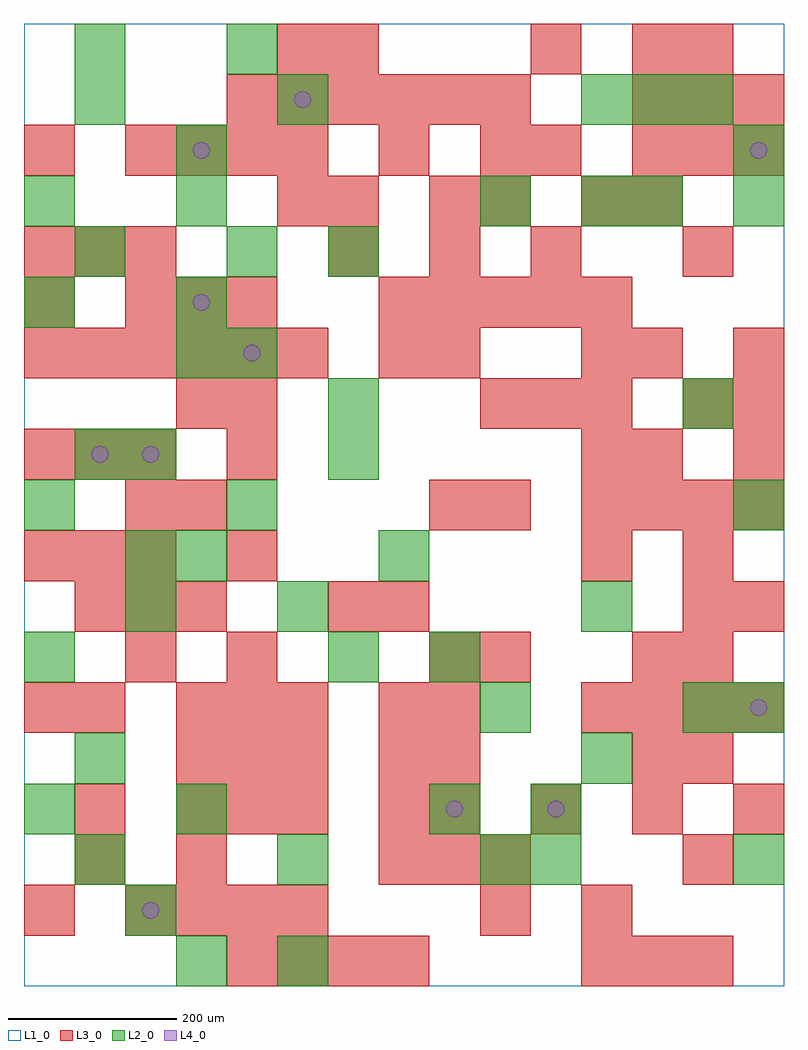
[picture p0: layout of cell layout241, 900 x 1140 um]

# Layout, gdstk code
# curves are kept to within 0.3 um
import gdstk
lib = gdstk.Library(unit=1e-6, precision=1e-09)
def R(c, l, rs):  # rectangles x0, y0, x1, y1
    for r in rs: c.add(gdstk.rectangle(r[:2], r[2:], *l))
def A(c, l, x, y, w, h, nx, ny, dx, dy):  # array of equal rectangles
    R(c, l, [(x+i*dx, y+j*dy, x+i*dx+w, y+j*dy+h) for i in range(nx) for j in range(ny)])
def P(c, l, *ps):  # polygons
    for p in ps: c.add(gdstk.Polygon(p, *l))
L1_0 = (1, 0)
L2_0 = (2, 0)
L3_0 = (3, 0)
L4_0 = (4, 0)

layout241 = lib.new_cell('layout241')
R(layout241, L1_0, [(0,0,900,1140)])
A(layout241, L2_0, 60, 120, 60, 60, 3, 1, 240, 0)
A(layout241, L2_0, 0, 180, 60, 60, 1, 3, 0, 180)
A(layout241, L2_0, 660, 1020, 60, 60, 3, 1, 60, 0)
R(layout241, L2_0, [(180,0,240,60), (300,0,360,60), (120,60,180,120), (600,120,660,180), (840,120,900,180), (180,180,240,240), (480,180,540,240), (600,180,660,240), (60,240,120,300), (660,240,720,300), (540,300,600,360), (780,300,840,360), (840,300,900,360), (360,360,420,420), (480,360,540,420), (120,420,180,480), (300,420,360,480), (660,420,720,480), (120,480,180,540), (180,480,240,540), (420,480,480,540), (240,540,300,600), (840,540,900,600), (60,600,120,660), (120,600,180,660), (360,600,420,660), (360,660,420,720), (780,660,840,720), (180,720,240,780), (240,720,300,780), (0,780,60,840), (180,780,240,840), (60,840,120,900), (240,840,300,900), (360,840,420,900), (0,900,60,960), (180,900,240,960), (540,900,600,960), (660,900,720,960), (720,900,780,960), (840,900,900,960), (180,960,240,1020), (840,960,900,1020), (60,1020,120,1080), (300,1020,360,1080), (60,1080,120,1140), (240,1080,300,1140)])
A(layout241, L3_0, 240, 0, 60, 60, 4, 1, 60, 0)
A(layout241, L3_0, 660, 0, 60, 60, 3, 1, 60, 0)
A(layout241, L3_0, 120, 60, 60, 60, 4, 2, 60, 900)
A(layout241, L3_0, 420, 120, 60, 60, 3, 1, 60, 0)
A(layout241, L3_0, 780, 120, 60, 60, 1, 3, 0, 120)
A(layout241, L3_0, 180, 180, 60, 60, 3, 3, 60, 60)
A(layout241, L3_0, 420, 180, 60, 60, 1, 3, 0, 60)
A(layout241, L3_0, 480, 180, 60, 60, 4, 1, 120, 0)
A(layout241, L3_0, 480, 240, 60, 60, 1, 3, 0, 60)
A(layout241, L3_0, 660, 300, 60, 60, 4, 2, 60, 240)
A(layout241, L3_0, 240, 360, 60, 60, 1, 3, 0, 120)
A(layout241, L3_0, 60, 420, 60, 60, 3, 1, 60, 0)
A(layout241, L3_0, 0, 480, 60, 60, 3, 2, 60, 120)
A(layout241, L3_0, 660, 480, 60, 60, 1, 3, 0, 120)
A(layout241, L3_0, 780, 480, 60, 60, 1, 3, 0, 180)
A(layout241, L3_0, 480, 540, 60, 60, 1, 3, 0, 180)
A(layout241, L3_0, 840, 600, 60, 60, 1, 3, 0, 60)
A(layout241, L3_0, 540, 660, 60, 60, 3, 1, 60, 0)
A(layout241, L3_0, 0, 720, 60, 60, 6, 1, 60, 0)
A(layout241, L3_0, 720, 720, 60, 60, 1, 3, 0, 180)
A(layout241, L3_0, 120, 780, 60, 60, 3, 1, 60, 0)
A(layout241, L3_0, 420, 780, 60, 60, 5, 1, 60, 0)
A(layout241, L3_0, 0, 840, 60, 60, 3, 1, 60, 0)
A(layout241, L3_0, 360, 840, 60, 60, 3, 1, 120, 0)
A(layout241, L3_0, 720, 960, 60, 60, 3, 2, 60, 60)
A(layout241, L3_0, 240, 1020, 60, 60, 6, 1, 60, 0)
R(layout241, L3_0, [(0,60,60,120), (540,60,600,120), (660,60,720,120), (60,120,120,180), (180,120,240,180), (60,180,120,240), (720,240,780,300), (0,300,60,360), (60,300,120,360), (120,360,180,420), (540,360,600,420), (720,360,780,420), (360,420,420,480), (420,420,480,480), (780,420,840,480), (840,420,900,480), (120,540,180,600), (180,540,240,600), (540,540,600,600), (720,600,780,660), (180,660,240,720), (240,660,300,720), (420,720,480,780), (0,780,60,840), (300,900,360,960), (360,900,420,960), (540,900,600,960), (660,900,720,960), (0,960,60,1020), (420,960,480,1020), (540,960,600,1020), (600,960,660,1020), (300,1080,360,1140), (360,1080,420,1140), (600,1080,660,1140), (780,1080,840,1140)])
P(layout241, L4_0, [(100,630),(99.239,633.827),(97.071,637.071),(93.827,639.239),(90,640),(86.173,639.239),(82.929,637.071),(80.761,633.827),(80,630),(80.761,626.173),(82.929,622.929),(86.173,620.761),(90,620),(93.827,620.761),(97.071,622.929),(99.239,626.173)],
  [(160,90),(159.239,93.827),(157.071,97.071),(153.827,99.239),(150,100),(146.173,99.239),(142.929,97.071),(140.761,93.827),(140,90),(140.761,86.173),(142.929,82.929),(146.173,80.761),(150,80),(153.827,80.761),(157.071,82.929),(159.239,86.173)],
  [(160,630),(159.239,633.827),(157.071,637.071),(153.827,639.239),(150,640),(146.173,639.239),(142.929,637.071),(140.761,633.827),(140,630),(140.761,626.173),(142.929,622.929),(146.173,620.761),(150,620),(153.827,620.761),(157.071,622.929),(159.239,626.173)],
  [(220,810),(219.239,813.827),(217.071,817.071),(213.827,819.239),(210,820),(206.173,819.239),(202.929,817.071),(200.761,813.827),(200,810),(200.761,806.173),(202.929,802.929),(206.173,800.761),(210,800),(213.827,800.761),(217.071,802.929),(219.239,806.173)],
  [(220,990),(219.239,993.827),(217.071,997.071),(213.827,999.239),(210,1000),(206.173,999.239),(202.929,997.071),(200.761,993.827),(200,990),(200.761,986.173),(202.929,982.929),(206.173,980.761),(210,980),(213.827,980.761),(217.071,982.929),(219.239,986.173)],
  [(280,750),(279.239,753.827),(277.071,757.071),(273.827,759.239),(270,760),(266.173,759.239),(262.929,757.071),(260.761,753.827),(260,750),(260.761,746.173),(262.929,742.929),(266.173,740.761),(270,740),(273.827,740.761),(277.071,742.929),(279.239,746.173)],
  [(340,1050),(339.239,1053.827),(337.071,1057.071),(333.827,1059.239),(330,1060),(326.173,1059.239),(322.929,1057.071),(320.761,1053.827),(320,1050),(320.761,1046.173),(322.929,1042.929),(326.173,1040.761),(330,1040),(333.827,1040.761),(337.071,1042.929),(339.239,1046.173)],
  [(520,210),(519.239,213.827),(517.071,217.071),(513.827,219.239),(510,220),(506.173,219.239),(502.929,217.071),(500.761,213.827),(500,210),(500.761,206.173),(502.929,202.929),(506.173,200.761),(510,200),(513.827,200.761),(517.071,202.929),(519.239,206.173)],
  [(640,210),(639.239,213.827),(637.071,217.071),(633.827,219.239),(630,220),(626.173,219.239),(622.929,217.071),(620.761,213.827),(620,210),(620.761,206.173),(622.929,202.929),(626.173,200.761),(630,200),(633.827,200.761),(637.071,202.929),(639.239,206.173)],
  [(880,330),(879.239,333.827),(877.071,337.071),(873.827,339.239),(870,340),(866.173,339.239),(862.929,337.071),(860.761,333.827),(860,330),(860.761,326.173),(862.929,322.929),(866.173,320.761),(870,320),(873.827,320.761),(877.071,322.929),(879.239,326.173)],
  [(880,990),(879.239,993.827),(877.071,997.071),(873.827,999.239),(870,1000),(866.173,999.239),(862.929,997.071),(860.761,993.827),(860,990),(860.761,986.173),(862.929,982.929),(866.173,980.761),(870,980),(873.827,980.761),(877.071,982.929),(879.239,986.173)])

lib.write_gds('layout241.gds')
